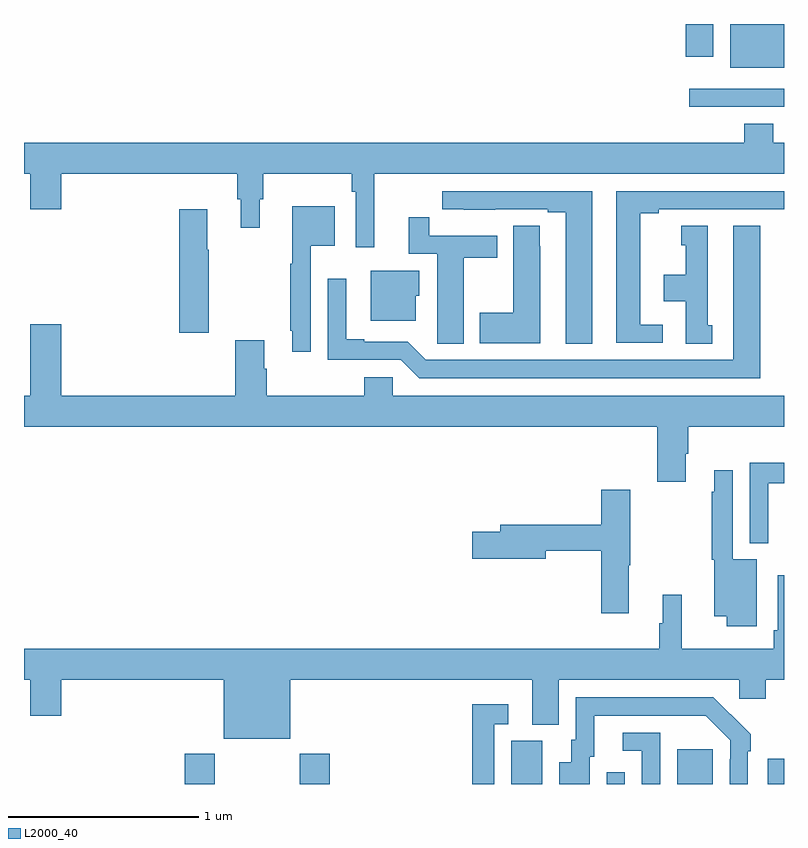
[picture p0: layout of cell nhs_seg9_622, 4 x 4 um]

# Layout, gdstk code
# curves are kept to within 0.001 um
import gdstk
lib = gdstk.Library(unit=1e-6, precision=1e-09)
def R(c, l, rs):  # rectangles x0, y0, x1, y1
    for r in rs: c.add(gdstk.rectangle(r[:2], r[2:], *l))
def P(c, l, *ps):  # polygons
    for p in ps: c.add(gdstk.Polygon(p, *l))
L2000_40 = (2000, 40)

nhs_seg9_622 = lib.new_cell('nhs_seg9_622')
R(nhs_seg9_622, L2000_40, [(141.845,1234.5,142.005,1234.66), (142.45,1234.5,142.61,1234.66), (143.564,1234.5,143.728,1234.728), (144.066,1234.5,144.162,1234.561), (144.437,1234.5,144.625,1234.684), (144.915,1234.5,145,1234.633), (144.501,1238.064,145,1238.16), (144.716,1238.27,145,1238.5), (144.482,1238.328,144.628,1238.5)])
P(nhs_seg9_622, L2000_40, [(142.844,1237.712),(145,1237.712),(145,1237.876),(144.943,1237.876),(144.943,1237.975),(144.791,1237.975),(144.791,1237.876),(141,1237.876),(141,1237.712),(141.032,1237.712),(141.032,1237.524),(141.196,1237.524),(141.196,1237.712),(142.123,1237.712),(142.123,1237.578),(142.142,1237.578),(142.142,1237.428),(142.24,1237.428),(142.24,1237.578),(142.259,1237.578),(142.259,1237.712),(142.726,1237.712),(142.726,1237.616),(142.746,1237.616),(142.746,1237.326),(142.844,1237.326)],
  [(144.361,1236.918),(144.244,1236.918),(144.244,1237.504),(144.34,1237.504),(144.34,1237.524),(145,1237.524),(145,1237.62),(144.116,1237.62),(144.116,1236.822),(144.361,1236.822)],
  [(143.992,1237.62),(143.202,1237.62),(143.202,1237.524),(143.314,1237.524),(143.314,1237.523),(143.48,1237.523),(143.48,1237.524),(143.756,1237.524),(143.756,1237.509),(143.852,1237.509),(143.852,1236.817),(143.992,1236.817)],
  [(142.509,1237.334),(142.636,1237.334),(142.636,1237.54),(142.412,1237.54),(142.412,1237.238),(142.401,1237.238),(142.401,1236.886),(142.412,1236.886),(142.412,1236.774),(142.509,1236.774)],
  [(141.972,1237.312),(141.964,1237.312),(141.964,1237.525),(141.818,1237.525),(141.818,1236.876),(141.972,1236.876)],
  [(143.314,1237.27),(143.491,1237.27),(143.491,1237.386),(143.132,1237.386),(143.132,1237.483),(143.024,1237.483),(143.024,1237.29),(143.174,1237.29),(143.174,1236.928),(143.175,1236.928),(143.175,1236.817),(143.314,1236.817)],
  [(143.716,1237.331),(143.715,1237.331),(143.715,1237.439),(143.576,1237.439),(143.576,1236.981),(143.399,1236.981),(143.399,1236.821),(143.716,1236.821)],
  [(144.622,1236.915),(144.598,1236.915),(144.598,1237.438),(144.458,1237.438),(144.458,1237.335),(144.482,1237.335),(144.482,1237.18),(144.368,1237.18),(144.368,1237.04),(144.482,1237.04),(144.482,1236.817),(144.622,1236.817)],
  [(144.874,1237.438),(144.734,1237.438),(144.734,1236.732),(143.115,1236.732),(143.019,1236.828),(142.792,1236.828),(142.792,1236.841),(142.696,1236.841),(142.696,1237.159),(142.599,1237.159),(142.599,1236.732),(142.983,1236.732),(143.079,1236.636),(144.874,1236.636)],
  [(143.062,1237.071),(143.08,1237.071),(143.08,1237.201),(142.826,1237.201),(142.826,1236.938),(143.062,1236.938)],
  [(144.484,1236.238),(144.497,1236.238),(144.497,1236.38),(145,1236.38),(145,1236.544),(142.941,1236.544),(142.941,1236.642),(142.79,1236.642),(142.79,1236.544),(142.277,1236.544),(142.277,1236.686),(142.264,1236.686),(142.264,1236.835),(142.112,1236.835),(142.112,1236.544),(141.196,1236.544),(141.196,1236.919),(141.032,1236.919),(141.032,1236.544),(141,1236.544),(141,1236.38),(144.332,1236.38),(144.332,1236.09),(144.484,1236.09)],
  [(144.916,1236.084),(145,1236.084),(145,1236.192),(144.819,1236.192),(144.819,1235.768),(144.916,1235.768)],
  [(144.856,1235.683),(144.729,1235.683),(144.729,1236.151),(144.632,1236.151),(144.632,1236.038),(144.621,1236.038),(144.621,1235.679),(144.632,1235.679),(144.632,1235.384),(144.698,1235.384),(144.698,1235.331),(144.856,1235.331)],
  [(144.184,1235.651),(144.192,1235.651),(144.192,1236.049),(144.038,1236.049),(144.038,1235.864),(143.507,1235.864),(143.507,1235.828),(143.358,1235.828),(143.358,1235.686),(143.746,1235.686),(143.746,1235.728),(144.038,1235.728),(144.038,1235.4),(144.184,1235.4)],
  [(142.402,1235.048),(143.675,1235.048),(143.675,1234.813),(143.815,1234.813),(143.815,1235.048),(144.765,1235.048),(144.765,1234.95),(144.904,1234.95),(144.904,1235.048),(145,1235.048),(145,1235.599),(144.966,1235.599),(144.966,1235.308),(144.946,1235.308),(144.946,1235.212),(144.462,1235.212),(144.462,1235.497),(144.362,1235.497),(144.362,1235.346),(144.343,1235.346),(144.343,1235.212),(141,1235.212),(141,1235.048),(141.032,1235.048),(141.032,1234.86),(141.196,1234.86),(141.196,1235.048),(142.052,1235.048),(142.052,1234.739),(142.402,1234.739)],
  [(143.977,1234.644),(144.001,1234.644),(144.001,1234.86),(144.589,1234.86),(144.717,1234.731),(144.717,1234.631),(144.714,1234.631),(144.714,1234.5),(144.81,1234.5),(144.81,1234.673),(144.825,1234.673),(144.825,1234.761),(144.628,1234.956),(143.904,1234.956),(143.904,1234.734),(143.879,1234.734),(143.879,1234.615),(143.816,1234.615),(143.816,1234.5),(143.977,1234.5)],
  [(143.475,1234.815),(143.548,1234.815),(143.548,1234.921),(143.359,1234.921),(143.359,1234.5),(143.475,1234.5)],
  [(144.348,1234.77),(144.15,1234.77),(144.15,1234.674),(144.252,1234.674),(144.252,1234.5),(144.348,1234.5)])

lib.write_gds('nhs_seg9_622.gds')
